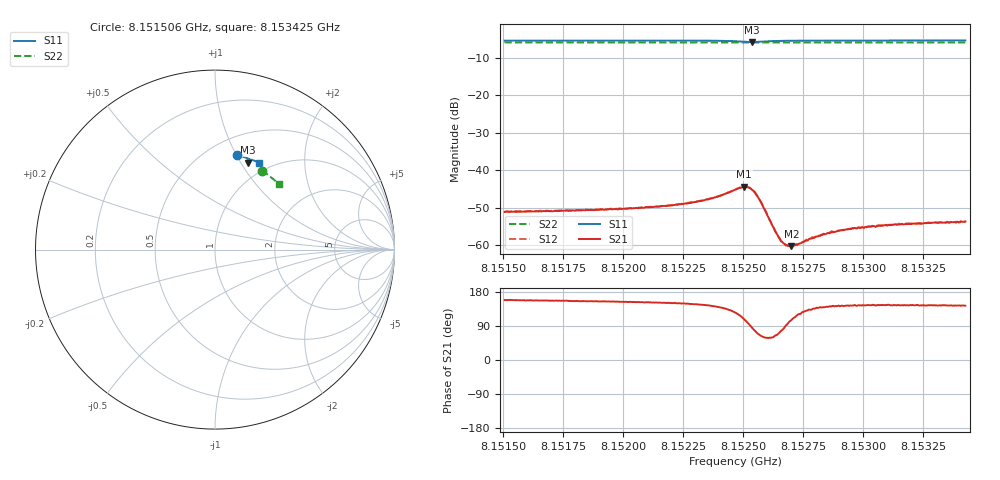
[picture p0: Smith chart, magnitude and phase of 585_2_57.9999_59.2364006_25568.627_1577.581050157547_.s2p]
#  HZ  S  RI  R  50.00
! Rohde & Schwarz Vector Network Analyzer
! Rohde-Schwarz,ZNB20-2Port,1311601062101988,3.16
! Created: UTC 3/21/2024, 1:16:29 AM
! freq[Hz]  re:S11  im:S11  re:S21  im:S21  re:S12  im:S12  re:S22  im:S22
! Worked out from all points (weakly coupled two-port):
!   401 points, 8.151506 GHz to 8.153425 GHz, reference 50 ohm
!   highest |S21| = -44.46 dB at 8.152504 GHz (marker M1); lowest = -60.3 dB at 8.152701 GHz (marker M2)
!   lowest |S11| = -5.7 dB at 8.152537 GHz (marker M3), VSWR 3.14, Z = 40.6 + j53.7 ohm
!   |S11| at or under -10 dB: nowhere
!   |S22| runs from -5.9 to -5.8 dB; largest |S21 - S12| = 0.00013
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8.151506e9  0.1244 0.5254  -0.00257 0.00103  -0.00256 0.00105  0.2612 0.4398
8.1518274e9  0.147 0.52  -0.00263 0.00122  -0.00267 0.00125  0.2784 0.4286
8.1521489e9  0.1698 0.513  -0.00286 0.00156  -0.00284 0.00163  0.2954 0.4166
8.1522544e9  0.1778 0.51  -0.00305 0.00184  -0.00303 0.0019  0.3007 0.4124
8.1523264e9  0.1838 0.507  -0.0032 0.00218  -0.00321 0.00227  0.3043 0.4097
8.1523983e9  0.1903 0.5025  -0.00344 0.0029  -0.00341 0.00297  0.3081 0.4067
8.1524655e9  0.1951 0.4935  -0.00318 0.00446  -0.00315 0.00452  0.3112 0.4037
8.1525039e9  0.1923 0.4854  -0.00181 0.0057  -0.00177 0.00579  0.3129 0.4021
8.1525231e9  0.1874 0.4831  -0.000489 0.00582  -0.000457 0.00587  0.3135 0.4012
8.1525375e9  0.1831 0.4836  0.000538 0.00542  0.000605 0.00548  0.3139 0.4008
8.1525518e9  0.1797 0.4862  0.00124 0.00466  0.00132 0.00472  0.3146 0.4005
8.152571e9  0.1781 0.4912  0.00162 0.00349  0.0017 0.00349  0.3157 0.3999
8.1526286e9  0.1841 0.5003  0.000757 0.00143  0.000761 0.00147  0.3187 0.3979
8.1526526e9  0.1873 0.5015  0.000329 0.00114  0.000378 0.00116  0.3199 0.397
8.1526766e9  0.1904 0.5023  -1.26e-05 0.001  3.75e-05 0.000982  0.3211 0.3958
8.1527006e9  0.1932 0.5022  -0.000257 0.000928  -0.000262 0.000941  0.3223 0.3949
8.1527341e9  0.1965 0.5018  -0.000544 0.000891  -0.000549 0.000887  0.3241 0.3938
8.1527869e9  0.2016 0.5011  -0.000853 0.00089  -0.000879 0.000926  0.3267 0.3913
8.1528637e9  0.2079 0.4992  -0.00115 0.000918  -0.00115 0.000943  0.3303 0.3882
8.1529356e9  0.2134 0.4975  -0.00131 0.000958  -0.0013 0.000962  0.3338 0.385
8.1531083e9  0.2255 0.4927  -0.00152 0.00106  -0.00149 0.00111  0.3419 0.3776
8.153425e9  0.2461 0.4835  -0.00164 0.00123  -0.00162 0.00126  0.3563 0.3635
